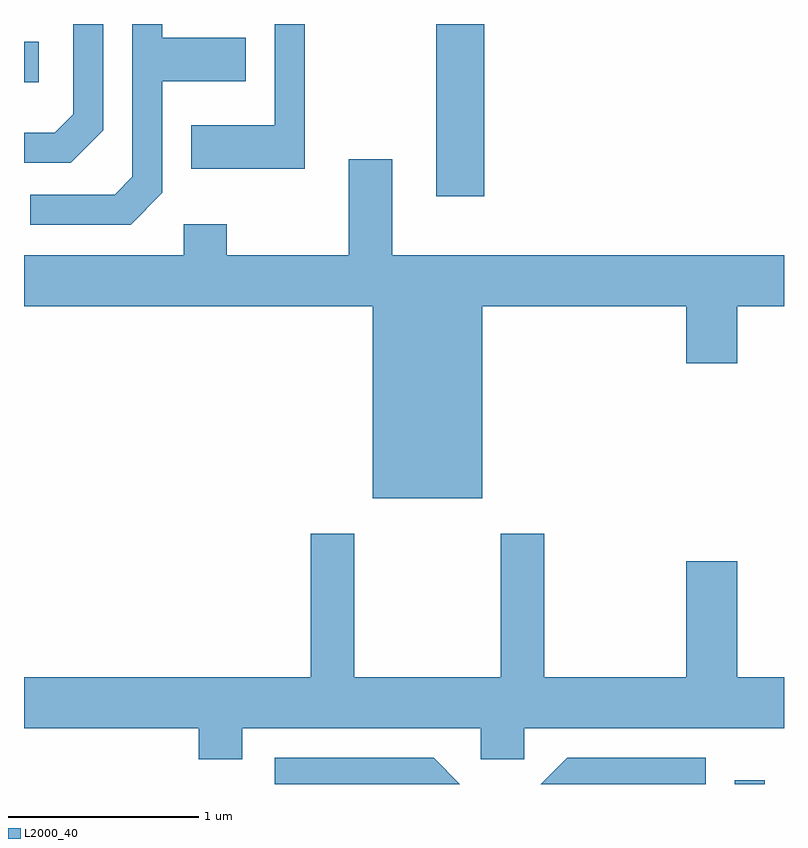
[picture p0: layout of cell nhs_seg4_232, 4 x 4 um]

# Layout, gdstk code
import gdstk
lib = gdstk.Library(unit=1e-6, precision=1e-09)
def R(c, l, rs):  # rectangles x0, y0, x1, y1
    for r in rs: c.add(gdstk.rectangle(r[:2], r[2:], *l))
def P(c, l, *ps):  # polygons
    for p in ps: c.add(gdstk.Polygon(p, *l))
L2000_40 = (2000, 40)

nhs_seg4_232 = lib.new_cell('nhs_seg4_232')
R(nhs_seg4_232, L2000_40, [(195.351,1309.982,195.509,1310.003), (193.781,1313.076,194.034,1313.982), (191.611,1313.676,191.689,1313.889)])
P(nhs_seg4_232, L2000_40, [(192.339,1313.094),(192.339,1313.681),(192.779,1313.681),(192.779,1313.909),(192.339,1313.909),(192.339,1313.982),(192.181,1313.982),(192.181,1313.177),(192.089,1313.084),(191.643,1313.084),(191.643,1312.926),(192.172,1312.926)],
  [(192.029,1313.424),(192.029,1313.982),(191.871,1313.982),(191.871,1313.507),(191.774,1313.409),(191.611,1313.409),(191.611,1313.251),(191.857,1313.251)],
  [(193.089,1313.982),(192.931,1313.982),(192.931,1313.449),(192.491,1313.449),(192.491,1313.221),(193.089,1313.221)],
  [(194.024,1312.496),(195.096,1312.496),(195.096,1312.196),(195.364,1312.196),(195.364,1312.496),(195.611,1312.496),(195.611,1312.764),(193.549,1312.764),(193.549,1313.269),(193.321,1313.269),(193.321,1312.764),(192.679,1312.764),(192.679,1312.929),(192.451,1312.929),(192.451,1312.764),(191.611,1312.764),(191.611,1312.496),(193.446,1312.496),(193.446,1311.486),(194.024,1311.486)],
  [(192.759,1310.276),(194.016,1310.276),(194.016,1310.111),(194.244,1310.111),(194.244,1310.276),(195.611,1310.276),(195.611,1310.544),(195.364,1310.544),(195.364,1311.154),(195.096,1311.154),(195.096,1310.544),(194.349,1310.544),(194.349,1311.299),(194.121,1311.299),(194.121,1310.544),(193.349,1310.544),(193.349,1311.299),(193.121,1311.299),(193.121,1310.544),(191.611,1310.544),(191.611,1310.276),(192.531,1310.276),(192.531,1310.111),(192.759,1310.111)],
  [(195.199,1310.119),(194.469,1310.119),(194.332,1309.982),(195.199,1309.982)],
  [(193.767,1310.119),(192.931,1310.119),(192.931,1309.982),(193.904,1309.982)])

lib.write_gds('nhs_seg4_232.gds')
